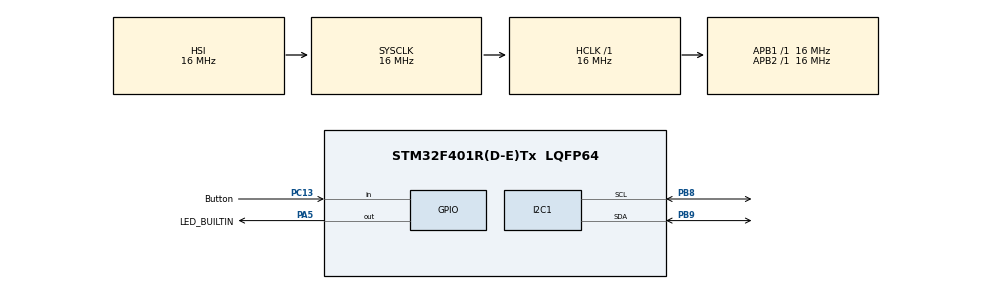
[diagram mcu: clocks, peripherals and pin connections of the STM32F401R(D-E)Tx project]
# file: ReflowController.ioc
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Mcu.Family=STM32F4
Mcu.Name=STM32F401R(D-E)Tx
Mcu.Package=LQFP64
NVIC.PriorityGroup=NVIC_PRIORITYGROUP_4
PA5.GPIO_Label=LED_BUILTIN
PA5.Signal=GPIO_Output
PB8.Mode=I2C
PB8.Signal=I2C1_SCL
PB9.Mode=I2C
PB9.Signal=I2C1_SDA
PC13-ANTI_TAMP.GPIO_Label=Button
PC13-ANTI_TAMP.Signal=GPIO_Input
ProjectManager.HeapSize=0x200
ProjectManager.StackSize=0x400
ProjectManager.TargetToolchain=STM32CubeIDE
RCC.AHBFreq_Value=16000000
RCC.APB1Freq_Value=16000000
RCC.APB2Freq_Value=16000000
RCC.CortexFreq_Value=16000000
RCC.HSE_VALUE=25000000
RCC.HSI_VALUE=16000000
RCC.LSE_VALUE=32768
RCC.SYSCLKFreq_VALUE=16000000
RCC.VCOOutputFreq_Value=192000000
board=custom

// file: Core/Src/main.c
/* USER CODE BEGIN Header */
/**
  ******************************************************************************
  * @file           : main.c
  * @brief          : Main program body
  ******************************************************************************
  * @attention
  *
  * Copyright (c) 2025 STMicroelectronics.
  * All rights reserved.
  *
  * This software is licensed under terms that can be found in the LICENSE file
  * in the root directory of this software component.
  * If no LICENSE file comes with this software, it is provided AS-IS.
  *
  ******************************************************************************
  */
/* USER CODE END Header */
#include "main.h"

/* USER CODE BEGIN Includes */
#include "ssd1306_font5x7.h"
/* USER CODE END Includes */

I2C_HandleTypeDef hi2c1;

/* USER CODE BEGIN PV */
#define SSD1306_ADDR (0x3C << 1)	// I2C address for the OLED display controller

/* USER CODE END PV */

void SystemClock_Config(void);
static void MX_GPIO_Init(void);
static void MX_I2C1_Init(void);
/* USER CODE BEGIN PFP */
void ssd1306_draw_char(uint8_t x, uint8_t page, char c);
void ssd1306_draw_string(uint8_t x, uint8_t page, const char *str);
void ssd1306_cmd(uint8_t cmd);
void ssd1306_data(uint8_t *data, size_t size);
void ssd1306_init(void);
void ssd1306_clear(void);
void ssd1306_char(uint8_t x, uint8_t page, const uint8_t *glyph);
/* USER CODE END PFP */

/* USER CODE BEGIN 0 */
void ssd1306_draw_string(uint8_t x, uint8_t page, const char *str)
{
    while (*str)
    {
        ssd1306_draw_char(x, page, *str++);
        x += 6;  // 5px glyph + 1px space

        if (x > 122)
            break;
    }
}

void ssd1306_draw_char(uint8_t x, uint8_t page, char c)
{
    if (c < 0x20 || c > 0x7E)
        c = '?';

    const uint8_t *glyph = font5x7[c - 0x20];

    ssd1306_cmd(0xB0 + page);
    ssd1306_cmd(0x00 + (x & 0x0F));
    ssd1306_cmd(0x10 + (x >> 4));

    ssd1306_data((uint8_t *)glyph, 5);

    uint8_t space = 0x00;
    ssd1306_data(&space, 1); // 1px spacing
}

void ssd1306_cmd(uint8_t cmd)
{
    uint8_t data[2] = {0x00, cmd};
    HAL_I2C_Master_Transmit(&hi2c1, SSD1306_ADDR, data, 2, HAL_MAX_DELAY);
}

void ssd1306_data(uint8_t *data, size_t size)
{
    uint8_t buf[129];
    buf[0] = 0x40;
    memcpy(&buf[1], data, size);
    HAL_I2C_Master_Transmit(&hi2c1, SSD1306_ADDR, buf, size + 1, HAL_MAX_DELAY);
}

void ssd1306_init(void)
{
    HAL_Delay(100);

    ssd1306_cmd(0xAE); // display off
    ssd1306_cmd(0x20); // memory addressing mode
    ssd1306_cmd(0x00); // horizontal addressing
    ssd1306_cmd(0xB0); // page start address
    ssd1306_cmd(0xC8); // COM scan direction
    ssd1306_cmd(0x00); // low column
    ssd1306_cmd(0x10); // high column
    ssd1306_cmd(0x40); // start line
    ssd1306_cmd(0x81); // contrast
    ssd1306_cmd(0x7F);
    ssd1306_cmd(0xA1); // segment remap
    ssd1306_cmd(0xA6); // normal display
    ssd1306_cmd(0xA8); // multiplex
    ssd1306_cmd(0x3F);
    ssd1306_cmd(0xA4); // display follows RAM
    ssd1306_cmd(0xD3); // display offset
    ssd1306_cmd(0x00);
    ssd1306_cmd(0xD5); // clock divide
    ssd1306_cmd(0x80);
    ssd1306_cmd(0xD9); // pre-charge
    ssd1306_cmd(0xF1);
    ssd1306_cmd(0xDA); // COM pins
    ssd1306_cmd(0x12);
    ssd1306_cmd(0xDB); // vcom detect
    ssd1306_cmd(0x40);
    ssd1306_cmd(0x8D); // charge pump
    ssd1306_cmd(0x14);
    ssd1306_cmd(0xAF); // display ON
}

void ssd1306_clear(void)
{
    uint8_t zero[128] = {0};

    for (uint8_t page = 0; page < 8; page++)
    {
        ssd1306_cmd(0xB0 + page);
        ssd1306_cmd(0x00);
        ssd1306_cmd(0x10);
        ssd1306_data(zero, 128);
    }
}

void ssd1306_char(uint8_t x, uint8_t page, const uint8_t *glyph)
{
    ssd1306_cmd(0xB0 + page);
    ssd1306_cmd(0x00 + (x & 0x0F));
    ssd1306_cmd(0x10 + (x >> 4));
    ssd1306_data((uint8_t *)glyph, 5);
}

/* USER CODE END 0 */

int main(void)
{

  /* MCU Configuration--------------------------------------------------------*/

  /* Reset of all peripherals, Initializes the Flash interface and the Systick. */
  HAL_Init();

  /* Configure the system clock */
  SystemClock_Config();

  /* Initialize all configured peripherals */
  MX_GPIO_Init();
  MX_I2C1_Init();
  /* USER CODE BEGIN 2 */
  ssd1306_init();
  ssd1306_clear();
  ssd1306_draw_string(0,0,"HELLO WORLD");
  /* USER CODE END 2 */

  /* Infinite loop */
  /* USER CODE BEGIN WHILE */
  while (1)
  {
	  // If the button is pressed, blink faster. Otherwise, blink slowly

	  if (!HAL_GPIO_ReadPin(Button_GPIO_Port, Button_Pin))
	  {
		  HAL_GPIO_TogglePin(LED_BUILTIN_GPIO_Port, LED_BUILTIN_Pin);
		  HAL_Delay(50);
	  }
	  else
	  {
		  HAL_GPIO_TogglePin(LED_BUILTIN_GPIO_Port, LED_BUILTIN_Pin);
		  HAL_Delay(600);
	  }

    /* USER CODE END WHILE */

  }
}

void SystemClock_Config(void)
{
  RCC_OscInitTypeDef RCC_OscInitStruct = {0};
  RCC_ClkInitTypeDef RCC_ClkInitStruct = {0};

  /** Configure the main internal regulator output voltage
  */
  __HAL_RCC_PWR_CLK_ENABLE();
  __HAL_PWR_VOLTAGESCALING_CONFIG(PWR_REGULATOR_VOLTAGE_SCALE2);

  /** Initializes the RCC Oscillators according to the specified parameters
  * in the RCC_OscInitTypeDef structure.
  */
  RCC_OscInitStruct.OscillatorType = RCC_OSCILLATORTYPE_HSI;
  RCC_OscInitStruct.HSIState = RCC_HSI_ON;
  RCC_OscInitStruct.HSICalibrationValue = RCC_HSICALIBRATION_DEFAULT;
  RCC_OscInitStruct.PLL.PLLState = RCC_PLL_NONE;
  if (HAL_RCC_OscConfig(&RCC_OscInitStruct) != HAL_OK)
  {
    Error_Handler();
  }

  /** Initializes the CPU, AHB and APB buses clocks
  */
  RCC_ClkInitStruct.ClockType = RCC_CLOCKTYPE_HCLK|RCC_CLOCKTYPE_SYSCLK
                              |RCC_CLOCKTYPE_PCLK1|RCC_CLOCKTYPE_PCLK2;
  RCC_ClkInitStruct.SYSCLKSource = RCC_SYSCLKSOURCE_HSI;
  RCC_ClkInitStruct.AHBCLKDivider = RCC_SYSCLK_DIV1;
  RCC_ClkInitStruct.APB1CLKDivider = RCC_HCLK_DIV1;
  RCC_ClkInitStruct.APB2CLKDivider = RCC_HCLK_DIV1;

  if (HAL_RCC_ClockConfig(&RCC_ClkInitStruct, FLASH_LATENCY_0) != HAL_OK)
  {
    Error_Handler();
  }
}

static void MX_I2C1_Init(void)
{

  hi2c1.Instance = I2C1;
  hi2c1.Init.ClockSpeed = 100000;
  hi2c1.Init.DutyCycle = I2C_DUTYCYCLE_2;
  hi2c1.Init.OwnAddress1 = 0;
  hi2c1.Init.AddressingMode = I2C_ADDRESSINGMODE_7BIT;
  hi2c1.Init.DualAddressMode = I2C_DUALADDRESS_DISABLE;
  hi2c1.Init.OwnAddress2 = 0;
  hi2c1.Init.GeneralCallMode = I2C_GENERALCALL_DISABLE;
  hi2c1.Init.NoStretchMode = I2C_NOSTRETCH_DISABLE;
  if (HAL_I2C_Init(&hi2c1) != HAL_OK)
  {
    Error_Handler();
  }

}

static void MX_GPIO_Init(void)
{
  GPIO_InitTypeDef GPIO_InitStruct = {0};

  /* GPIO Ports Clock Enable */
  __HAL_RCC_GPIOC_CLK_ENABLE();
  __HAL_RCC_GPIOA_CLK_ENABLE();
  __HAL_RCC_GPIOB_CLK_ENABLE();

  /*Configure GPIO pin Output Level */
  HAL_GPIO_WritePin(LED_BUILTIN_GPIO_Port, LED_BUILTIN_Pin, GPIO_PIN_RESET);

  /*Configure GPIO pin : Button_Pin */
  GPIO_InitStruct.Pin = Button_Pin;
  GPIO_InitStruct.Mode = GPIO_MODE_INPUT;
  GPIO_InitStruct.Pull = GPIO_NOPULL;
  HAL_GPIO_Init(Button_GPIO_Port, &GPIO_InitStruct);

  /*Configure GPIO pin : LED_BUILTIN_Pin */
  GPIO_InitStruct.Pin = LED_BUILTIN_Pin;
  GPIO_InitStruct.Mode = GPIO_MODE_OUTPUT_PP;
  GPIO_InitStruct.Pull = GPIO_NOPULL;
  GPIO_InitStruct.Speed = GPIO_SPEED_FREQ_LOW;
  HAL_GPIO_Init(LED_BUILTIN_GPIO_Port, &GPIO_InitStruct);

}

void Error_Handler(void)
{
  __disable_irq();
  while (1)
  {
  }
}
